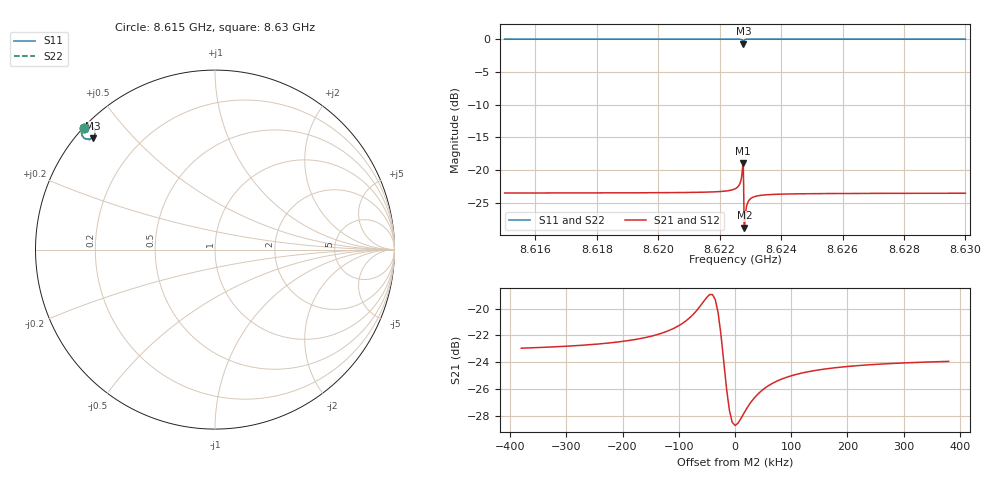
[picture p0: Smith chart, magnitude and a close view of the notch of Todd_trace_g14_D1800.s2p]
! Sonnet Data File
! From: emgraph Version : 16.52
! From Project: 171114transmon_trace_brg
! Data is De-embedded
! Data File Written: 11/14/2017 19:58:17
!< HDATE 11/14/2017 18:03:22
!< MDATE 11/14/2017 18:03:22
!< PARAMS
!< Lj = 15.24
!< Gap = 14.0
!< Width = 10.0
!< Airgap = 6.0
!< Pwidth = 2000.0
!< Dist = 1800.0
!< END PARAMS
# GHZ S MA R 34.87000
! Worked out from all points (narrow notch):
!   3597 points, 8.615 GHz to 8.63 GHz, reference 34.87 ohm
!   highest |S21| = -18.95 dB at 8.62277 GHz (marker M1); lowest = -28.7 dB at 8.62281 GHz (marker M2)
!   notch at M2: 5.3 dB deep, 63.4 kHz wide at half that depth
!   lowest |S11| = -0.7 dB at 8.62278 GHz (marker M3), VSWR 24.37, Z = 1.65 + j13.5 ohm
!   |S11| at or under -10 dB: nowhere
!   |S22| runs from -0.7 to 0.0 dB; largest |S21 - S12| = 4.1e-13
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8.615  0.9977 137.2  0.06714 47.2  0.06714 47.2  0.9977 137.2
!< P1 F=8.615 Eeff=(5.13377404 -5.6313e-5) Z0=(34.6595714 -9.1612e-5) R=0.0 C=0.0
!< P2 F=8.615 Eeff=(5.13377404 -5.6313e-5) Z0=(34.6595714 -9.1612e-5) R=0.0 C=0.0
8.6175  0.9977 137.2  0.06725 47.2  0.06725 47.2  0.9977 137.2
8.62  0.9977 137.1  0.06752 47.1  0.06752 47.1  0.9977 137.1
8.621885  0.9976 137.1  0.06864 47.0  0.06864 47.0  0.9976 137.1
8.62227  0.9975 137.0  0.06988 46.9  0.06988 46.9  0.9975 137.0
8.6225  0.997 136.8  0.07225 46.6  0.07225 46.6  0.997 136.8
8.622615  0.9961 136.6  0.07592 45.9  0.07592 45.9  0.9961 136.6
8.622695  0.9926 136.2  0.08417 43.6  0.08417 43.6  0.9926 136.2
8.622705  0.9913 136.0  0.08635 42.8  0.08635 42.8  0.9914 136.0
8.622765  0.9341 135.5  0.1129 12.8  0.1129 12.8  0.9347 135.5
8.622775  0.9212 137.6  0.09635 -5.2  0.09635 -5.2  0.9219 137.6
8.622805  0.9796 139.2  0.03659 16.4  0.03659 16.4  0.9798 139.2
8.62286  0.9954 138.1  0.05077 44.4  0.05077 44.4  0.9954 138.1
8.622875  0.9962 138.0  0.05301 45.3  0.05301 45.3  0.9962 137.9
8.622925  0.9972 137.7  0.05751 46.6  0.05751 46.6  0.9973 137.7
8.622975  0.9976 137.6  0.05985 47.0  0.05985 47.0  0.9976 137.6
8.623065  0.9978 137.4  0.06206 47.2  0.06206 47.2  0.9978 137.4
8.6232  0.9978 137.3  0.06363 47.2  0.06363 47.2  0.9978 137.3
8.62374  0.9978 137.2  0.06554 47.2  0.06554 47.2  0.9978 137.2
8.625  0.9978 137.2  0.0664 47.2  0.0664 47.2  0.9978 137.2
8.6275  0.9978 137.1  0.06677 47.1  0.06677 47.1  0.9978 137.1
8.63  0.9978 137.1  0.0669 47.1  0.0669 47.1  0.9978 137.1
